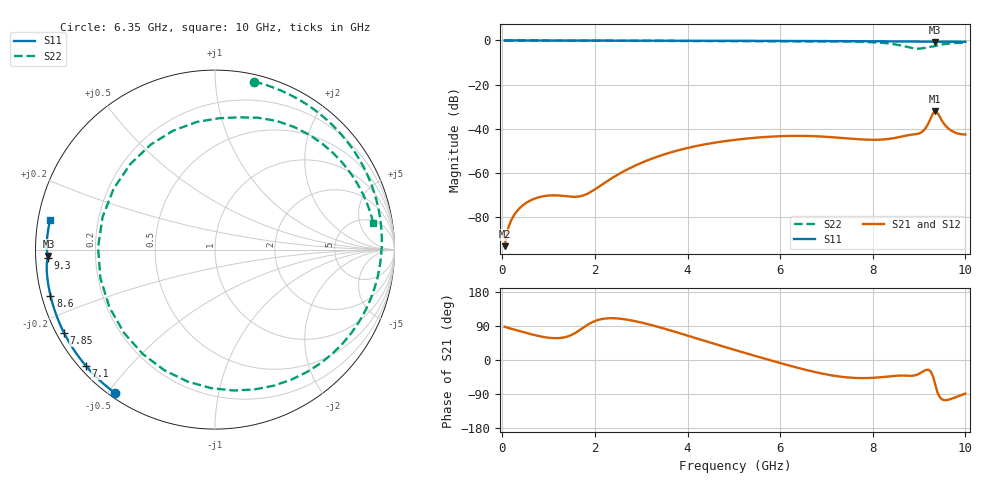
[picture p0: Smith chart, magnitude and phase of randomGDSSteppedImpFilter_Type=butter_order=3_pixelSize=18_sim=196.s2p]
! freq	dB(S11)	phase(S11)	dB(S12)	phase(S12)
!  dB(S21)	phase(S21)	dB(S22)	phase(S22)
!S-par simulation data
#  GHz  S  DB  R 50
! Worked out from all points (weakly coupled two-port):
!   200 points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, 50 MHz to 10 GHz, reference 50 ohm
!   highest |S21| = -31.95 dB at 9.35 GHz (marker M1); lowest = -93.3 dB at 50 MHz (marker M2)
!   lowest |S11| = -0.6 dB at 9.35 GHz (marker M3), VSWR 26.93, Z = 1.86 - j0.969 ohm
!   |S11| at or under -10 dB: nowhere
!   |S22| runs from -3.7 to 0.0 dB; largest |S21 - S12| = 0
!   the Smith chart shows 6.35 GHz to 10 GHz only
!   S11 on the Smith chart (normalised r, x): 6.35 GHz: 0.02, -0.52; 7.1 GHz: 0.02, -0.38; 7.85 GHz: 0.02, -0.26; 8.6 GHz: 0.03, -0.14; 9.3 GHz: 0.04, -0.02; 10 GHz: 0.03, +0.09
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0.05  -0.00 -1.1  -93.32 87.7  -93.32 87.7  -0.00 -2.7
0.2  -0.00 -4.4  -81.26 82.2  -81.26 82.2  -0.01 -10.9
0.8  -0.02 -17.4  -71.06 62.9  -71.06 62.9  -0.06 -43.0
1.75  -0.05 -37.7  -70.29 85.5  -70.29 85.5  -0.11 -90.2
2.5  -0.07 -53.2  -60.79 109.5  -60.79 109.5  -0.14 -123.7
3.4  -0.09 -71.1  -52.36 86.2  -52.36 86.2  -0.18 -160.8
4.2  -0.12 -86.4  -47.85 56.9  -47.85 56.9  -0.22 167.6
5.05  -0.16 -102.0  -45.02 25.4  -45.02 25.4  -0.26 133.5
5.75  -0.19 -114.5  -43.69 0.6  -43.69 0.6  -0.30 104.0
6.35  -0.23 -125.0  -43.27 -19.6  -43.27 -19.6  -0.34 77.0
6.7  -0.25 -131.1  -43.40 -30.3  -43.40 -30.3  -0.38 60.2
7.1  -0.28 -138.0  -43.86 -40.3  -43.86 -40.3  -0.43 39.8
7.85  -0.35 -151.1  -44.98 -47.7  -44.98 -47.7  -0.70 -6.3
8.35  -0.40 -159.9  -44.66 -43.3  -44.66 -43.3  -1.38 -53.2
8.6  -0.43 -164.3  -43.69 -41.2  -43.69 -41.2  -2.25 -91.7
8.75  -0.45 -167.1  -43.02 -41.5  -43.02 -41.5  -3.00 -124.5
8.95  -0.47 -170.7  -42.47 -39.1  -42.47 -39.1  -3.72 179.0
9.15  -0.52 -174.5  -39.47 -26.2  -39.47 -26.2  -3.27 121.5
9.3  -0.62 -177.3  -33.09 -42.8  -33.09 -42.8  -2.71 88.2
9.35  -0.65 -177.8  -31.95 -65.1  -31.95 -65.1  -2.51 79.8
9.65  -0.56 176.7  -40.25 -104.4  -40.25 -104.4  -1.41 39.1
10  -0.60 169.8  -42.66 -88.6  -42.66 -88.6  -0.97 9.4
